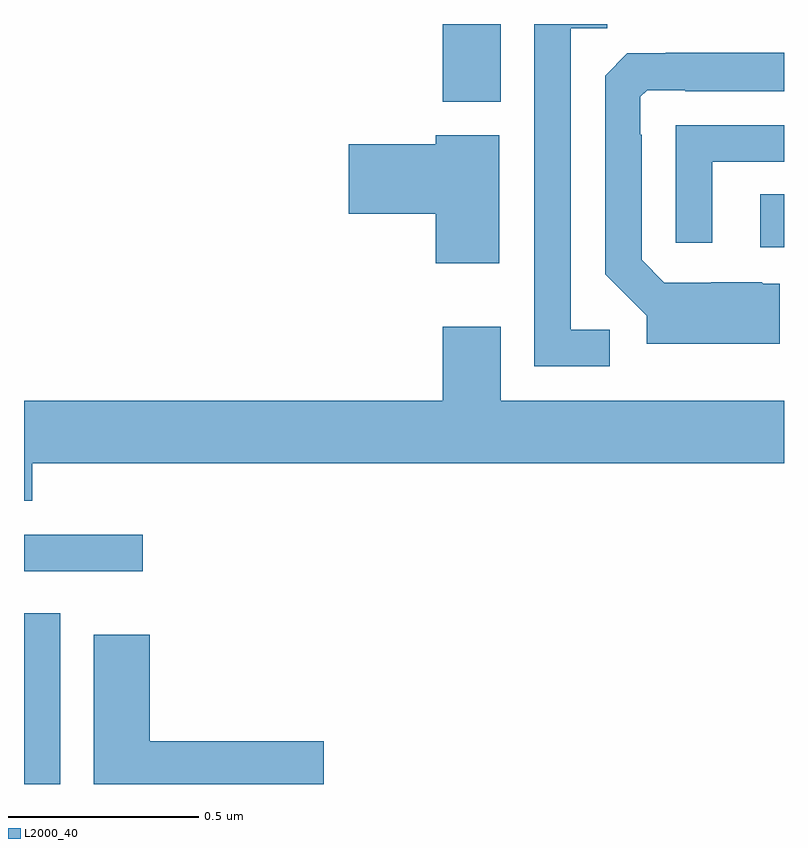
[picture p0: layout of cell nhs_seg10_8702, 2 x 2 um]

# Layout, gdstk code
import gdstk
lib = gdstk.Library(unit=1e-6, precision=1e-09)
def R(c, l, rs):  # rectangles x0, y0, x1, y1
    for r in rs: c.add(gdstk.rectangle(r[:2], r[2:], *l))
def P(c, l, *ps):  # polygons
    for p in ps: c.add(gdstk.Polygon(p, *l))
L2000_40 = (2000, 40)

nhs_seg10_8702 = lib.new_cell('nhs_seg10_8702')
R(nhs_seg10_8702, L2000_40, [(220,1271.5,220.096,1271.95), (220,1272.06,220.312,1272.156), (221.937,1272.912,222,1273.052), (221.102,1273.296,221.254,1273.5)])
P(nhs_seg10_8702, L2000_40, [(221.542,1272.696),(221.439,1272.696),(221.439,1273.489),(221.535,1273.489),(221.535,1273.5),(221.343,1273.5),(221.343,1272.6),(221.542,1272.6)],
  [(221.989,1272.817),(221.945,1272.817),(221.942,1272.82),(221.808,1272.82),(221.808,1272.819),(221.685,1272.819),(221.625,1272.879),(221.625,1273.208),(221.622,1273.208),(221.622,1273.308),(221.64,1273.326),(221.74,1273.326),(221.74,1273.323),(222,1273.323),(222,1273.424),(221.689,1273.424),(221.689,1273.423),(221.588,1273.423),(221.529,1273.364),(221.529,1272.842),(221.639,1272.732),(221.639,1272.659),(221.989,1272.659)],
  [(221.811,1273.137),(222,1273.137),(222,1273.233),(221.715,1273.233),(221.715,1272.924),(221.811,1272.924)],
  [(221.251,1273.207),(221.084,1273.207),(221.084,1273.184),(220.854,1273.184),(220.854,1273.001),(221.084,1273.001),(221.084,1272.87),(221.251,1272.87)],
  [(220.022,1272.344),(222,1272.344),(222,1272.508),(221.254,1272.508),(221.254,1272.703),(221.102,1272.703),(221.102,1272.508),(220,1272.508),(220,1272.245),(220.022,1272.245)],
  [(220.789,1271.612),(220.331,1271.612),(220.331,1271.893),(220.184,1271.893),(220.184,1271.5),(220.789,1271.5)])

lib.write_gds('nhs_seg10_8702.gds')
